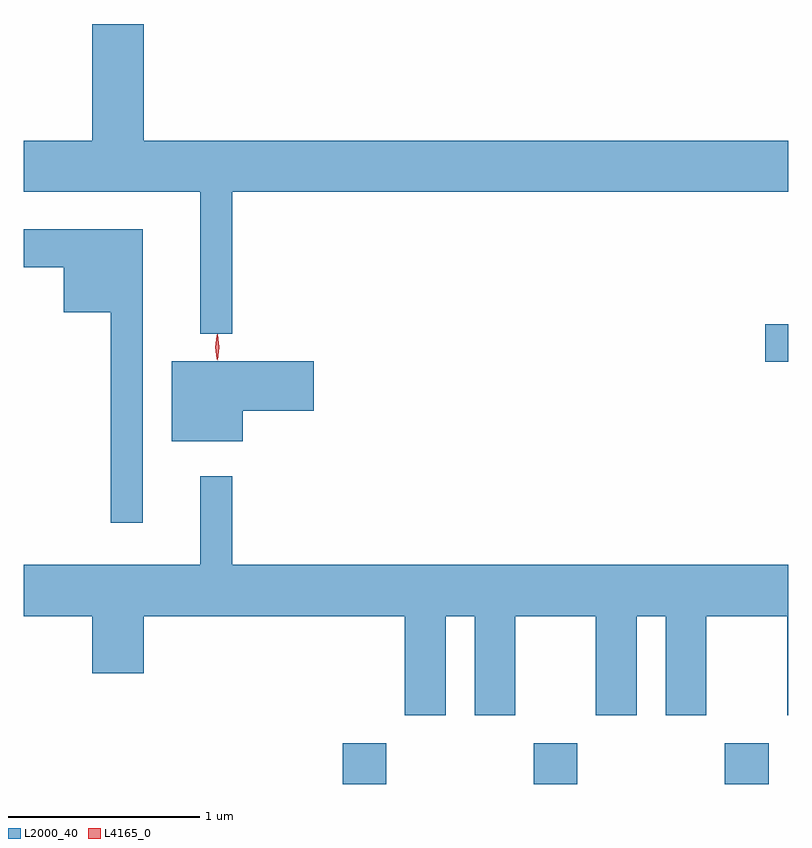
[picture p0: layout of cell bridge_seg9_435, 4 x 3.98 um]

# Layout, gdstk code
import gdstk
lib = gdstk.Library(unit=1e-6, precision=1e-09)
def R(c, l, rs):  # rectangles x0, y0, x1, y1
    for r in rs: c.add(gdstk.rectangle(r[:2], r[2:], *l))
def A(c, l, x, y, w, h, nx, ny, dx, dy):  # array of equal rectangles
    R(c, l, [(x+i*dx, y+j*dy, x+i*dx+w, y+j*dy+h) for i in range(nx) for j in range(ny)])
def P(c, l, *ps):  # polygons
    for p in ps: c.add(gdstk.Polygon(p, *l))
L2000_40 = (2000, 40)
L4165_0 = (4165, 0)

bridge_seg9_435 = lib.new_cell('bridge_seg9_435')
A(bridge_seg9_435, L2000_40, 396.206, 2057.537, 0.228, 0.212, 3, 1, 1, 0)
R(bridge_seg9_435, L2000_40, [(398.416,2059.746,398.537,2059.944)])
P(bridge_seg9_435, L2000_40, [(395.629,2060.636),(398.537,2060.636),(398.537,2060.904),(395.164,2060.904),(395.164,2061.514),(394.896,2061.514),(394.896,2060.904),(394.537,2060.904),(394.537,2060.636),(395.461,2060.636),(395.461,2059.893),(395.629,2059.893)],
  [(395.159,2060.439),(394.537,2060.439),(394.537,2060.241),(394.746,2060.241),(394.746,2060.006),(394.991,2060.006),(394.991,2058.903),(395.159,2058.903)],
  [(395.684,2059.491),(396.054,2059.491),(396.054,2059.749),(395.311,2059.749),(395.311,2059.331),(395.684,2059.331)],
  [(396.744,2058.416),(396.896,2058.416),(396.896,2057.896),(397.109,2057.896),(397.109,2058.416),(397.531,2058.416),(397.531,2057.896),(397.744,2057.896),(397.744,2058.416),(397.896,2058.416),(397.896,2057.896),(398.109,2057.896),(398.109,2058.416),(398.531,2058.416),(398.531,2057.896),(398.537,2057.896),(398.537,2058.684),(395.629,2058.684),(395.629,2059.148),(395.461,2059.148),(395.461,2058.684),(394.537,2058.684),(394.537,2058.416),(394.896,2058.416),(394.896,2058.116),(395.164,2058.116),(395.164,2058.416),(396.531,2058.416),(396.531,2057.896),(396.744,2057.896)])
P(bridge_seg9_435, L4165_0, [(395.551,2059.754),(395.551,2059.754),(395.541,2059.822),(395.55,2059.89),(395.55,2059.89),(395.551,2059.89),(395.561,2059.822),(395.552,2059.754)],
  [(395.547,2059.76),(395.538,2059.823),(395.547,2059.886),(395.548,2059.887),(395.548,2059.886),(395.558,2059.823),(395.548,2059.76),(395.548,2059.76)])

lib.write_gds('bridge_seg9_435.gds')
